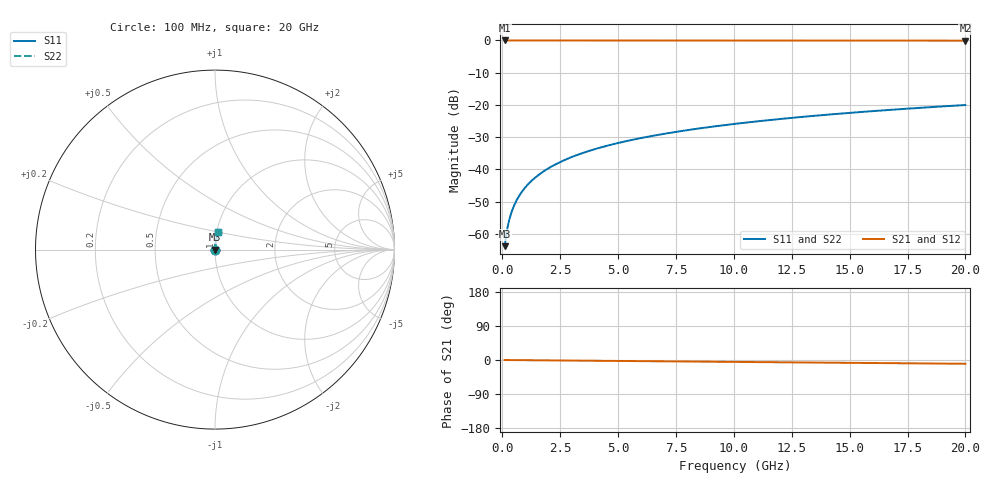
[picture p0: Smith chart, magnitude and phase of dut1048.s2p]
! Touchstone file exported from HFSS 2026.1.0
!  File:  C:/ffzhzh/LocalFiles/Ansys_Project_Files/temp_train_TSV_1048_1783189446_22436.aedt
!  Generated:  02:25:39 AM Jul  5, 2026
!  Design:  TSV
!  Project:  temp_train_TSV_1048_1783189446_22436
! Variables:
!  h_bsmrdl = 2um
!  h_ox = 20um
!  h_rdl = 5um
!  h_sub = 74.83um
!  h_tmrdl = 5um
!  h_tsv = 74.83um
!  h_via = 3um
!  l_bsmrdl = 300um
!  l_sub = 410.3um
!  l_tmrdl = 200um
!  m_sub = 200um
!  pitch = 56.73um
!  r_tsv = 5.15um
!  s_tmrdl = 10um
!  w_bsmrdl = 18um
!  w_sub = 500um
!  w_tmrdl = 12um
!  x_tsv_center1 = 206um
!  x_tsv_center2 = 524um
!  x_tsv_center3 = 736um
!  x_tsv_center4 = 1054um
!  x_tsv_center5 = 1266um
!  x_tsv_center6 = 1584um
# GHz S MA R 50.000000
! Terminal data exported
! Port[1] = TSV1_1_T1
! Port[2] = TSV1_1_T2
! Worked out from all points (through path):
!   200 points, 100 MHz to 20 GHz, reference 50 ohm
!   highest |S21| = 0.00 dB at 100 MHz (marker M1); lowest = -0.1 dB at 20 GHz (marker M2)
!   group delay of S21, straight-line fit = 1.38 ps
!   lowest |S11| = -63.8 dB at 100 MHz (marker M3), VSWR 1.00, Z = 50 + j0.0542 ohm
!   |S11| at or under -10 dB: start of sweep to end of sweep
!   |S22| runs from -63.8 to -20.0 dB; largest |S21 - S12| = 2.5e-15
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0.1  0.0006473 56.8  0.9996 -0.1  0.9996 -0.1  0.0006473 56.8
! Gamma 0 0 0 0
! Port Impedance 50 0 50 0
0.2  0.001141 71.4  0.9996 -0.1  0.9996 -0.1  0.001141 71.4
0.3  0.001662 76.8  0.9996 -0.2  0.9996 -0.2  0.001662 76.8
0.4  0.002187 79.5  0.9996 -0.2  0.9996 -0.2  0.002187 79.5
0.5  0.002712 81.1  0.9996 -0.3  0.9996 -0.3  0.002712 81.1
0.7  0.003756 83.0  0.9996 -0.4  0.9996 -0.4  0.003756 83.0
0.8  0.004276 83.5  0.9995 -0.4  0.9995 -0.4  0.004276 83.5
1  0.005312 84.3  0.9995 -0.5  0.9995 -0.5  0.005312 84.3
1.2  0.006346 84.8  0.9995 -0.6  0.9995 -0.6  0.006346 84.8
1.4  0.007378 85.2  0.9994 -0.7  0.9994 -0.7  0.007378 85.2
1.7  0.008924 85.5  0.9994 -0.9  0.9994 -0.9  0.008924 85.5
2  0.01047 85.7  0.9993 -1.0  0.9993 -1.0  0.01047 85.7
2.7  0.01406 85.8  0.9992 -1.4  0.9992 -1.4  0.01406 85.8
3.5  0.01814 85.7  0.999 -1.8  0.999 -1.8  0.01814 85.7
4.2  0.02169 85.6  0.9989 -2.1  0.9989 -2.1  0.02169 85.6
5  0.02572 85.3  0.9987 -2.5  0.9987 -2.5  0.02572 85.3
6.8  0.03476 84.7  0.9982 -3.4  0.9982 -3.4  0.03476 84.7
8.3  0.04225 84.1  0.9978 -4.2  0.9978 -4.2  0.04225 84.1
10.1  0.0512 83.4  0.9973 -5.1  0.9973 -5.1  0.0512 83.4
13.4  0.06754 82.0  0.9961 -6.7  0.9961 -6.7  0.06754 82.0
16.7  0.08375 80.5  0.9947 -8.3  0.9947 -8.3  0.08375 80.5
20  0.09979 78.9  0.9931 -9.9  0.9931 -9.9  0.09979 78.9
